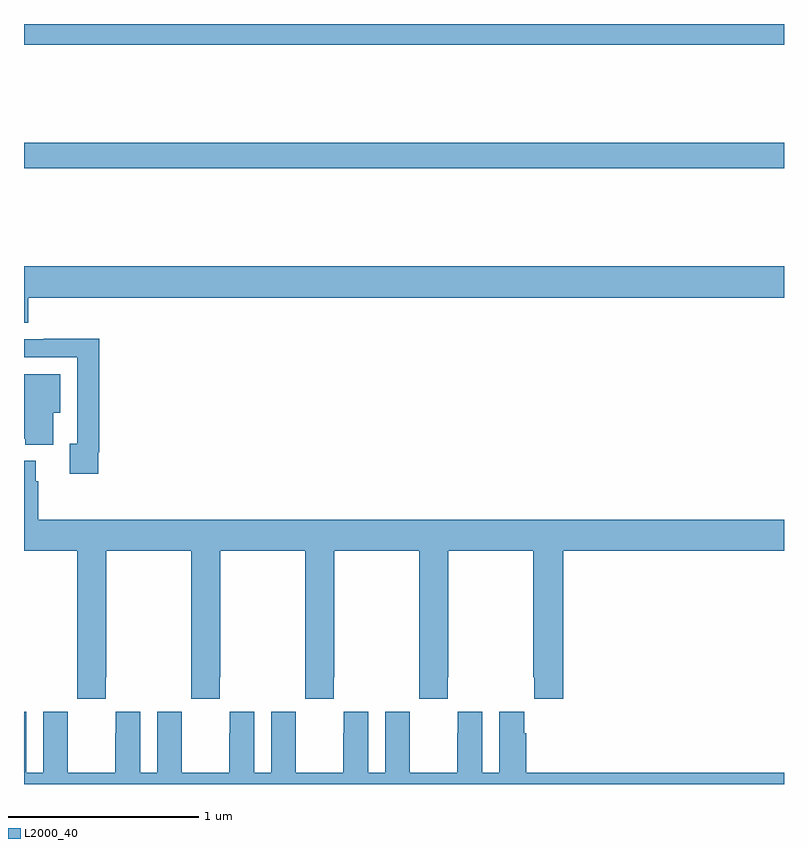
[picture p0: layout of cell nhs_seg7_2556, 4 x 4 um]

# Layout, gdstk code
import gdstk
lib = gdstk.Library(unit=1e-6, precision=1e-09)
def R(c, l, rs):  # rectangles x0, y0, x1, y1
    for r in rs: c.add(gdstk.rectangle(r[:2], r[2:], *l))
def P(c, l, *ps):  # polygons
    for p in ps: c.add(gdstk.Polygon(p, *l))
L2000_40 = (2000, 40)

nhs_seg7_2556 = lib.new_cell('nhs_seg7_2556')
R(nhs_seg7_2556, L2000_40, [(277,1057.24,281,1057.376), (277,1057.892,281,1058)])
P(nhs_seg7_2556, L2000_40, [(277.022,1056.56),(281,1056.56),(281,1056.724),(277,1056.724),(277,1056.427),(277.022,1056.427)],
  [(277.39,1055.746),(277.397,1055.746),(277.397,1056.344),(277.105,1056.344),(277.105,1056.342),(277,1056.342),(277,1056.246),(277.281,1056.246),(277.281,1055.79),(277.241,1055.79),(277.241,1055.634),(277.39,1055.634)],
  [(277.153,1055.954),(277.192,1055.954),(277.192,1056.157),(277,1056.157),(277,1055.817),(277.007,1055.817),(277.007,1055.786),(277.153,1055.786)],
  [(277.431,1054.561),(277.434,1054.561),(277.434,1055.228),(277.879,1055.228),(277.879,1054.561),(277.881,1054.561),(277.881,1054.449),(278.031,1054.449),(278.031,1054.561),(278.034,1054.561),(278.034,1055.228),(278.479,1055.228),(278.479,1054.561),(278.481,1054.561),(278.481,1054.449),(278.631,1054.449),(278.631,1054.561),(278.634,1054.561),(278.634,1055.228),(279.079,1055.228),(279.079,1054.561),(279.081,1054.561),(279.081,1054.449),(279.231,1054.449),(279.231,1054.561),(279.234,1054.561),(279.234,1055.228),(279.679,1055.228),(279.679,1054.561),(279.685,1054.561),(279.685,1054.449),(279.839,1054.449),(279.839,1055.228),(281,1055.228),(281,1055.392),(277.076,1055.392),(277.076,1055.594),(277.063,1055.594),(277.063,1055.701),(277,1055.701),(277,1055.228),(277.279,1055.228),(277.279,1054.561),(277.281,1054.561),(277.281,1054.449),(277.431,1054.449)],
  [(278.082,1054.381),(278.082,1054.268),(278.081,1054.268),(278.081,1054.06),(277.831,1054.06),(277.831,1054.268),(277.83,1054.268),(277.83,1054.381),(277.7,1054.381),(277.7,1054.06),(277.612,1054.06),(277.612,1054.381),(277.482,1054.381),(277.482,1054.268),(277.481,1054.268),(277.481,1054.06),(277.231,1054.06),(277.231,1054.268),(277.23,1054.268),(277.23,1054.381),(277.1,1054.381),(277.1,1054.06),(277.012,1054.06),(277.012,1054.381),(277,1054.381),(277,1054),(281,1054),(281,1054.06),(279.644,1054.06),(279.644,1054.268),(279.634,1054.268),(279.634,1054.381),(279.5,1054.381),(279.5,1054.06),(279.412,1054.06),(279.412,1054.381),(279.282,1054.381),(279.282,1054.268),(279.281,1054.268),(279.281,1054.06),(279.031,1054.06),(279.031,1054.268),(279.03,1054.268),(279.03,1054.381),(278.9,1054.381),(278.9,1054.06),(278.812,1054.06),(278.812,1054.381),(278.682,1054.381),(278.682,1054.268),(278.681,1054.268),(278.681,1054.06),(278.431,1054.06),(278.431,1054.268),(278.43,1054.268),(278.43,1054.381),(278.3,1054.381),(278.3,1054.06),(278.212,1054.06),(278.212,1054.381)])

lib.write_gds('nhs_seg7_2556.gds')
